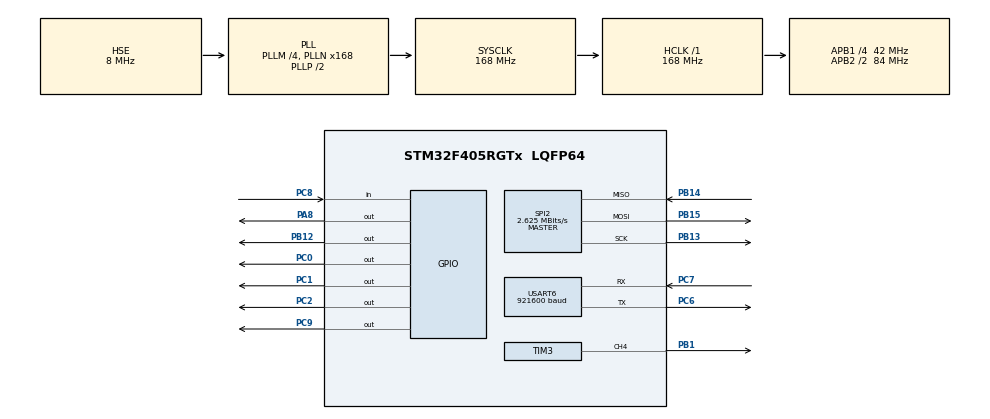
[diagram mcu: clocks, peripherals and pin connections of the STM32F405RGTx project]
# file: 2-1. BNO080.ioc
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Mcu.Family=STM32F4
Mcu.Name=STM32F405RGTx
Mcu.Package=LQFP64
NVIC.PriorityGroup=NVIC_PRIORITYGROUP_4
NVIC.USART6_IRQn=true\:0\:0\:false\:false\:true\:true\:true
PA8.Signal=GPIO_Output
PB1.Signal=S_TIM3_CH4
PB12.Signal=GPIO_Output
PB13.Mode=Full_Duplex_Master
PB13.Signal=SPI2_SCK
PB14.Mode=Full_Duplex_Master
PB14.Signal=SPI2_MISO
PB15.Mode=Full_Duplex_Master
PB15.Signal=SPI2_MOSI
PC0.Signal=GPIO_Output
PC1.Signal=GPIO_Output
PC2.Signal=GPIO_Output
PC6.Mode=Asynchronous
PC6.Signal=USART6_TX
PC7.Mode=Asynchronous
PC7.Signal=USART6_RX
PC8.Signal=GPIO_Input
PC9.Signal=GPIO_Output
PH0-OSC_IN.Mode=HSE-External-Oscillator
PH0-OSC_IN.Signal=RCC_OSC_IN
PH1-OSC_OUT.Mode=HSE-External-Oscillator
PH1-OSC_OUT.Signal=RCC_OSC_OUT
ProjectManager.HeapSize=0x200
ProjectManager.StackSize=0x400
ProjectManager.TargetToolchain=STM32CubeIDE
RCC.48MHZClocksFreq_Value=84000000
RCC.AHBFreq_Value=168000000
RCC.APB1CLKDivider=RCC_HCLK_DIV4
RCC.APB1Freq_Value=42000000
RCC.APB1TimFreq_Value=84000000
RCC.APB2CLKDivider=RCC_HCLK_DIV2
RCC.APB2Freq_Value=84000000
RCC.APB2TimFreq_Value=168000000
RCC.CortexFreq_Value=168000000
RCC.HCLKFreq_Value=168000000
RCC.HSE_VALUE=8000000
RCC.HSI_VALUE=16000000
RCC.LSE_VALUE=32768
RCC.PLLM=4
RCC.PLLN=168
RCC.PLLSourceVirtual=RCC_PLLSOURCE_HSE
RCC.SYSCLKFreq_VALUE=168000000
RCC.SYSCLKSource=RCC_SYSCLKSOURCE_PLLCLK
RCC.VCOOutputFreq_Value=336000000
SH.S_TIM3_CH4.0=TIM3_CH4,PWM Generation4 CH4
SPI2.BaudRatePrescaler=SPI_BAUDRATEPRESCALER_16
SPI2.CLKPhase=SPI_PHASE_2EDGE
SPI2.CLKPolarity=SPI_POLARITY_HIGH
SPI2.CalculateBaudRate=2.625 MBits/s
SPI2.Direction=SPI_DIRECTION_2LINES
SPI2.Mode=SPI_MODE_MASTER
SPI2.VirtualType=VM_MASTER
TIM3.AutoReloadPreload=TIM_AUTORELOAD_PRELOAD_ENABLE
TIM3.Channel-PWM\ Generation4\ CH4=TIM_CHANNEL_4
TIM3.OCFastMode_PWM-PWM\ Generation4\ CH4=TIM_OCFAST_ENABLE
TIM3.Period=21-1
TIM3.Prescaler=1000-1
TIM3.Pulse-PWM\ Generation4\ CH4=10
USART6.BaudRate=921600
USART6.VirtualMode=VM_ASYNC
VP_TIM3_VS_ClockSourceINT.Mode=Internal
board=custom

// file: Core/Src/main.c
/* USER CODE BEGIN Header */
/**
  ******************************************************************************
  * @file           : main.c
  * @brief          : Main program body
  ******************************************************************************
  * @attention
  *
  * <h2><center>&copy; Copyright (c) 2020 STMicroelectronics.
  * All rights reserved.</center></h2>
  *
  * This software component is licensed by ST under BSD 3-Clause license,
  * the "License"; You may not use this file except in compliance with the
  * License. You may obtain a copy of the License at:
  *                        opensource.org/licenses/BSD-3-Clause
  *
  ******************************************************************************
  */
/* USER CODE END Header */

#include "main.h"
#include "spi.h"
#include "tim.h"
#include "usart.h"
#include "gpio.h"
#include "bno080.h"
#include "Quaternion.h"

/* USER CODE BEGIN PTD */
int _write(int file, char* p, int len)
{
	for(int i=0;i<len;i++)
	{
		LL_USART_TransmitData8(USART6,*(p+i));
		HAL_Delay(1);
	}
	return len;
}
/* USER CODE END PTD */

/* USER CODE BEGIN PV */
extern uint8_t	uart6_rx_flag;
extern uint8_t uart6_rx_data;
/* USER CODE END PV */

void SystemClock_Config(void);

int main(void)
{
  /* USER CODE BEGIN 1 */
	int count = 0;
	float f = 1.234;
	float q[4];
	float quatRadianAccuray;
  /* USER CODE END 1 */

  /* MCU Configuration--------------------------------------------------------*/

  /* Reset of all peripherals, Initializes the Flash interface and the Systick. */
  HAL_Init();

  /* Configure the system clock */
  SystemClock_Config();

  /* Initialize all configured peripherals */
  MX_GPIO_Init();
  MX_TIM3_Init();
  MX_USART6_UART_Init();
  MX_SPI2_Init();
  /* USER CODE BEGIN 2 */
  LL_TIM_EnableCounter(TIM3);
  LL_TIM_CC_EnableChannel(TIM3, LL_TIM_CHANNEL_CH4);

  TIM3->PSC = 2000; // 2kHz
  HAL_Delay(100);
  TIM3->PSC=1500;  // 3kHz
  HAL_Delay(100);
  TIM3->PSC=1000; // 4kHz
  HAL_Delay(100);

  LL_TIM_CC_DisableChannel(TIM3, LL_TIM_CHANNEL_CH4);

  LL_USART_EnableIT_RXNE(USART6);

  BNO080_Initialization();
  BNO080_enableGameRotationVector(2500); // 400 times per sec

  /* USER CODE END 2 */

  /* Infinite loop */
  while (1)
  {

    /* USER CODE BEGIN 3 */
	  //HAL_GPIO_TogglePin(GPIOC, GPIO_PIN_0|GPIO_PIN_1|GPIO_PIN_2);
	  //LL_GPIO_TogglePin(GPIOC, LL_GPIO_PIN_0|LL_GPIO_PIN_1|LL_GPIO_PIN_2);
	  //LL_USART_TransmitData8(USART6,'A');
	  //HAL_Delay(1000);
//	  if(uart6_rx_flag == 1)
//	  {
//		  uart6_rx_flag = 0;
//		  LL_USART_TransmitData8(USART6,uart6_rx_data);
//
//		  switch(uart6_rx_data)
//		  {
//		  case '0':
//			  LL_GPIO_TogglePin(GPIOC, LL_GPIO_PIN_0|LL_GPIO_PIN_1|LL_GPIO_PIN_2);
//			  break;
//		  case '1':
//			  LL_TIM_CC_EnableChannel(TIM3, LL_TIM_CHANNEL_CH4);
//			  break;
//		  case '2':
//		  	  LL_TIM_CC_DisableChannel(TIM3, LL_TIM_CHANNEL_CH4);
//		  	  break;
//		  }
//	  }
//	  printf("%d %f\n",count++, f+=0.001);
//	  HAL_Delay(1000);

	  if(BNO080_dataAvailable() == 1)
	  {
		  LL_GPIO_TogglePin(GPIOC, LL_GPIO_PIN_0);
		  q[0] = BNO080_getQuatI();
		  q[1] = BNO080_getQuatJ();
		  q[2] = BNO080_getQuatK();
		  q[3] = BNO080_getQuatReal();
		  quatRadianAccuray = BNO080_getQuatAccuracy();

		  Quaternion_Update(&q[0]);

		  printf("%d,%d,%d\n",(int)(BNO080_Roll*100),(int)(BNO080_Pitch*100),(int)(BNO080_Yaw*100));
	  }
  }
  /* USER CODE END 3 */
}

void SystemClock_Config(void)
{
  RCC_OscInitTypeDef RCC_OscInitStruct = {0};
  RCC_ClkInitTypeDef RCC_ClkInitStruct = {0};

  /** Configure the main internal regulator output voltage
  */
  __HAL_RCC_PWR_CLK_ENABLE();
  __HAL_PWR_VOLTAGESCALING_CONFIG(PWR_REGULATOR_VOLTAGE_SCALE1);
  /** Initializes the CPU, AHB and APB busses clocks
  */
  RCC_OscInitStruct.OscillatorType = RCC_OSCILLATORTYPE_HSE;
  RCC_OscInitStruct.HSEState = RCC_HSE_ON;
  RCC_OscInitStruct.PLL.PLLState = RCC_PLL_ON;
  RCC_OscInitStruct.PLL.PLLSource = RCC_PLLSOURCE_HSE;
  RCC_OscInitStruct.PLL.PLLM = 4;
  RCC_OscInitStruct.PLL.PLLN = 168;
  RCC_OscInitStruct.PLL.PLLP = RCC_PLLP_DIV2;
  RCC_OscInitStruct.PLL.PLLQ = 4;
  if (HAL_RCC_OscConfig(&RCC_OscInitStruct) != HAL_OK)
  {
    Error_Handler();
  }
  /** Initializes the CPU, AHB and APB busses clocks
  */
  RCC_ClkInitStruct.ClockType = RCC_CLOCKTYPE_HCLK|RCC_CLOCKTYPE_SYSCLK
                              |RCC_CLOCKTYPE_PCLK1|RCC_CLOCKTYPE_PCLK2;
  RCC_ClkInitStruct.SYSCLKSource = RCC_SYSCLKSOURCE_PLLCLK;
  RCC_ClkInitStruct.AHBCLKDivider = RCC_SYSCLK_DIV1;
  RCC_ClkInitStruct.APB1CLKDivider = RCC_HCLK_DIV4;
  RCC_ClkInitStruct.APB2CLKDivider = RCC_HCLK_DIV2;

  if (HAL_RCC_ClockConfig(&RCC_ClkInitStruct, FLASH_LATENCY_5) != HAL_OK)
  {
    Error_Handler();
  }
}

void Error_Handler(void)
{
}

/************************ (C) COPYRIGHT STMicroelectronics *****END OF FILE****/
